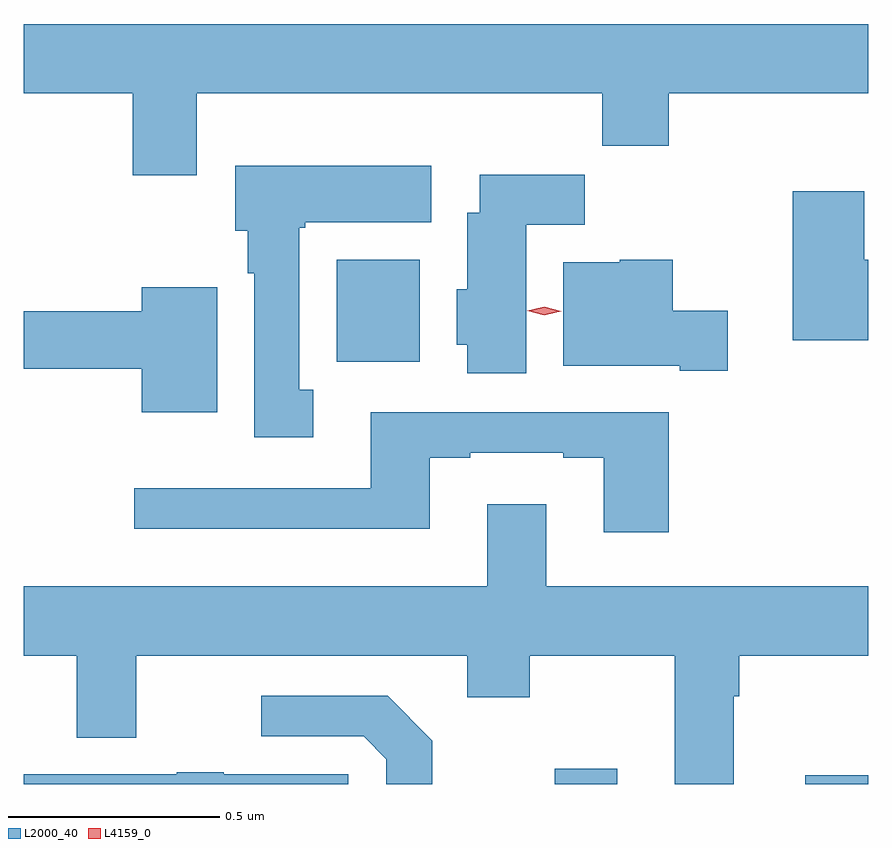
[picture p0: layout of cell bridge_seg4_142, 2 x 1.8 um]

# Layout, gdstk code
import gdstk
lib = gdstk.Library(unit=1e-6, precision=1e-09)
def R(c, l, rs):  # rectangles x0, y0, x1, y1
    for r in rs: c.add(gdstk.rectangle(r[:2], r[2:], *l))
def P(c, l, *ps):  # polygons
    for p in ps: c.add(gdstk.Polygon(p, *l))
L2000_40 = (2000, 40)
L4159_0 = (4159, 0)

bridge_seg4_142 = lib.new_cell('bridge_seg4_142')
R(bridge_seg4_142, L2000_40, [(123.921,783.196,124.069,783.232), (124.514,783.196,124.663,783.217), (123.404,784.196,123.601,784.438)])
P(bridge_seg4_142, L2000_40, [(123.073,784.832),(124.033,784.832),(124.033,784.708),(124.19,784.708),(124.19,784.832),(124.663,784.832),(124.663,784.996),(122.663,784.996),(122.663,784.832),(122.921,784.832),(122.921,784.638),(123.073,784.638)],
  [(123.349,784.13),(123.316,784.13),(123.316,784.513),(123.33,784.513),(123.33,784.526),(123.628,784.526),(123.628,784.66),(123.164,784.66),(123.164,784.506),(123.194,784.506),(123.194,784.406),(123.209,784.406),(123.209,784.017),(123.349,784.017)],
  [(123.853,784.52),(123.992,784.52),(123.992,784.639),(123.743,784.639),(123.743,784.549),(123.713,784.549),(123.713,784.368),(123.689,784.368),(123.689,784.236),(123.713,784.236),(123.713,784.169),(123.853,784.169)],
  [(124.663,784.438),(124.654,784.438),(124.654,784.6),(124.484,784.6),(124.484,784.247),(124.663,784.247)],
  [(124.33,784.317),(124.2,784.317),(124.2,784.438),(124.074,784.438),(124.074,784.432),(123.941,784.432),(123.941,784.187),(124.217,784.187),(124.217,784.175),(124.33,784.175)],
  [(123.121,784.372),(122.942,784.372),(122.942,784.316),(122.663,784.316),(122.663,784.18),(122.942,784.18),(122.942,784.076),(123.121,784.076)],
  [(124.19,784.077),(123.485,784.077),(123.485,783.897),(122.925,783.897),(122.925,783.8),(123.625,783.8),(123.625,783.969),(123.721,783.969),(123.721,783.981),(123.941,783.981),(123.941,783.969),(124.037,783.969),(124.037,783.792),(124.19,783.792)],
  [(124.345,783.404),(124.358,783.404),(124.358,783.5),(124.663,783.5),(124.663,783.664),(123.901,783.664),(123.901,783.859),(123.761,783.859),(123.761,783.664),(122.663,783.664),(122.663,783.5),(122.789,783.5),(122.789,783.306),(122.929,783.306),(122.929,783.5),(123.713,783.5),(123.713,783.401),(123.861,783.401),(123.861,783.5),(124.205,783.5),(124.205,783.196),(124.345,783.196)],
  [(123.631,783.299),(123.525,783.405),(123.225,783.405),(123.225,783.309),(123.468,783.309),(123.522,783.255),(123.522,783.196),(123.631,783.196)],
  [(123.432,783.219),(123.137,783.219),(123.137,783.224),(123.025,783.224),(123.025,783.219),(122.663,783.219),(122.663,783.196),(123.432,783.196)])
P(bridge_seg4_142, L4159_0, [(123.896,784.306),(123.856,784.317),(123.856,784.317),(123.856,784.317),(123.896,784.326),(123.936,784.316),(123.936,784.316),(123.936,784.316)])

lib.write_gds('bridge_seg4_142.gds')
